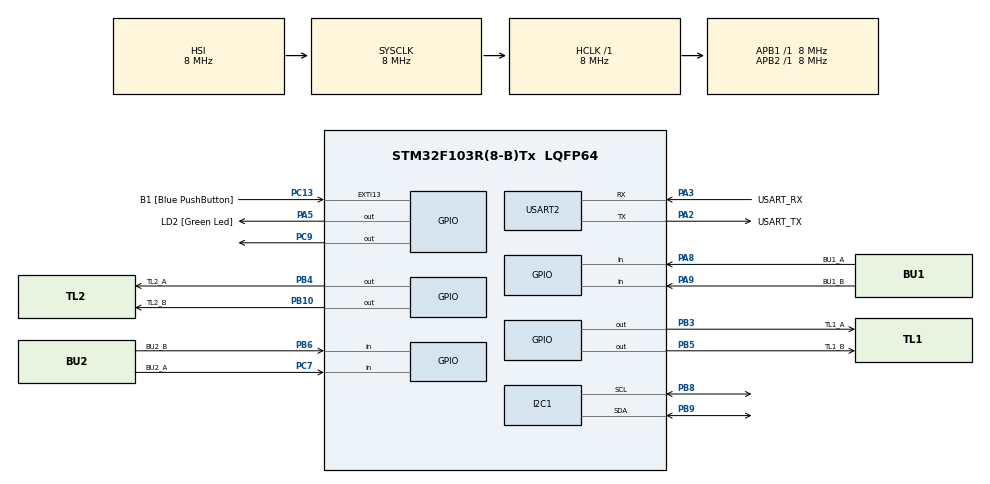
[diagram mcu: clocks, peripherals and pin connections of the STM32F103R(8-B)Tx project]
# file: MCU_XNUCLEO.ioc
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Mcu.Family=STM32F1
Mcu.Name=STM32F103R(8-B)Tx
Mcu.Package=LQFP64
NVIC.EXTI15_10_IRQn=true\:0\:0\:false\:false\:true\:true\:true\:true
NVIC.PriorityGroup=NVIC_PRIORITYGROUP_4
NVIC.TIM2_IRQn=true\:0\:0\:false\:false\:true\:true\:true\:true
PA13.GPIO_Label=TMS
PA13.Mode=Serial_Wire
PA13.Signal=SYS_JTMS-SWDIO
PA14.GPIO_Label=TCK
PA14.Mode=Serial_Wire
PA14.Signal=SYS_JTCK-SWCLK
PA2.GPIO_Label=USART_TX
PA2.GPIO_Mode=GPIO_MODE_AF_PP
PA2.GPIO_PuPd=GPIO_NOPULL
PA2.GPIO_Speed=GPIO_SPEED_FREQ_LOW
PA2.Mode=Asynchronous
PA2.Signal=USART2_TX
PA3.GPIO_Label=USART_RX
PA3.GPIO_Mode=GPIO_MODE_AF_PP
PA3.GPIO_PuPd=GPIO_NOPULL
PA3.GPIO_Speed=GPIO_SPEED_FREQ_LOW
PA3.Mode=Asynchronous
PA3.Signal=USART2_RX
PA5.GPIO_Label=LD2 [Green Led]
PA5.GPIO_ModeDefaultOutputPP=GPIO_MODE_OUTPUT_PP
PA5.GPIO_PuPd=GPIO_NOPULL
PA5.GPIO_Speed=GPIO_SPEED_FREQ_LOW
PA5.Signal=GPIO_Output
PA8.GPIO_Label=BU1_A
PA8.Signal=GPIO_Input
PA9.GPIO_Label=BU1_B
PA9.Signal=GPIO_Input
PB10.GPIO_Label=TL2_B
PB10.Signal=GPIO_Output
PB3.GPIO_Label=TL1_A
PB3.Signal=GPIO_Output
PB4.GPIO_Label=TL2_A
PB4.Signal=GPIO_Output
PB5.GPIO_Label=TL1_B
PB5.Signal=GPIO_Output
PB6.GPIO_Label=BU2_B
PB6.Signal=GPIO_Input
PB8.Mode=I2C
PB8.Signal=I2C1_SCL
PB9.Mode=I2C
PB9.Signal=I2C1_SDA
PC13-TAMPER-RTC.GPIO_Label=B1 [Blue PushButton]
PC13-TAMPER-RTC.GPIO_PuPd=GPIO_NOPULL
PC13-TAMPER-RTC.Signal=GPXTI13
PC14-OSC32_IN.Mode=LSE-External-Oscillator
PC14-OSC32_IN.Signal=RCC_OSC32_IN
PC15-OSC32_OUT.Mode=LSE-External-Oscillator
PC15-OSC32_OUT.Signal=RCC_OSC32_OUT
PC7.GPIO_Label=BU2_A
PC7.Signal=GPIO_Input
PC9.Signal=GPIO_Output
PD0-OSC_IN.Mode=HSE-External-Clock-Source
PD0-OSC_IN.Signal=RCC_OSC_IN
PD1-OSC_OUT.Mode=HSE-External-Clock-Source
PD1-OSC_OUT.Signal=RCC_OSC_OUT
ProjectManager.HeapSize=0x200
ProjectManager.StackSize=0x400
ProjectManager.TargetToolchain=STM32CubeIDE
RCC.AHBFreq_Value=8000000
RCC.APB1Freq_Value=8000000
RCC.APB1TimFreq_Value=8000000
RCC.APB2Freq_Value=8000000
RCC.APB2TimFreq_Value=8000000
RCC.HCLKFreq_Value=8000000
RCC.PLLMUL=RCC_PLL_MUL16
RCC.RTCClockSelection=RCC_RTCCLKSOURCE_LSE
RCC.SYSCLKFreq_VALUE=8000000
RCC.USBFreq_Value=64000000
TIM2.Period=9
TIM2.Prescaler=7999
USART2.VirtualMode=VM_ASYNC
VP_TIM2_VS_ClockSourceINT.Mode=Internal
board=NUCLEO-F103RB

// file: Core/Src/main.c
/* USER CODE BEGIN Header */
/**
 ******************************************************************************
 * @file           : main.c
 * @brief          : Main program body
 ******************************************************************************
 * @attention
 *
 * <h2><center>&copy; Copyright (c) 2026 STMicroelectronics.
 * All rights reserved.</center></h2>
 *
 * This software component is licensed by ST under BSD 3-Clause license,
 * the "License"; You may not use this file except in compliance with the
 * License. You may obtain a copy of the License at:
 *                        opensource.org/licenses/BSD-3-Clause
 *
 ******************************************************************************
 */
/* USER CODE END Header */
#include "main.h"

/* USER CODE BEGIN Includes */
#include "button.h"
#include "dht20.h"
#include "lcd.h"
#include "scheduler.h"
#include "software_timer.h"
#include "traffic_light.h"
#include <stdio.h>

/* USER CODE END Includes */

I2C_HandleTypeDef hi2c1;

TIM_HandleTypeDef htim2;

UART_HandleTypeDef huart2;

/* USER CODE BEGIN PV */
DHT20_HandleTypeDef hdht20;
/* USER CODE END PV */
/*test*/
void SystemClock_Config(void);
static void MX_GPIO_Init(void);
static void MX_USART2_UART_Init(void);
static void MX_I2C1_Init(void);
static void MX_TIM2_Init(void);

/* USER CODE BEGIN 0 */
static const char *last_btn_str = "None       ";
static uint8_t lcd_dirty = 1;

static void update_lcd_status(void) {
  char line_buf[17];

  snprintf(line_buf, sizeof(line_buf), "TL1:%-3s  TL2:%-3s",
           traffic_color_str(traffic_get(TRAFFIC_ROAD_1)),
           traffic_color_str(traffic_get(TRAFFIC_ROAD_2)));
  LCD_SetCursor(0, 0);
  LCD_SendString(line_buf);

  snprintf(line_buf, sizeof(line_buf), "Btn: %-11s", last_btn_str);
  LCD_SetCursor(0, 1);
  LCD_SendString(line_buf);
}

/**
 * @brief Step 5 Demo Task: tests debounced button presses, 1s long-press,
 *        and traffic_light module under the O(1) scheduler.
 */
static void test_button_traffic_task(void) {
  if (isButtonPressed(BTN_1)) {
    /* Button 1 (BU1_A / PA8): Road 1 = RED, Road 2 = GREEN */
    traffic_set_both(LIGHT_RED, LIGHT_GREEN);
    last_btn_str = "BU1_A (D7) ";
    lcd_dirty = 1;
  } else if (isButtonPressed(BTN_2)) {
    /* Button 2 (BU1_B / PA9): Road 1 = RED, Road 2 = AMBER */
    traffic_set_both(LIGHT_RED, LIGHT_AMBER);
    last_btn_str = "BU1_B (D8) ";
    lcd_dirty = 1;
  } else if (isButtonPressed(BTN_3)) {
    /* Button 3 (BU2_A / PC7): Road 1 = GREEN, Road 2 = RED */
    traffic_set_both(LIGHT_GREEN, LIGHT_RED);
    last_btn_str = "BU2_A (D9) ";
    lcd_dirty = 1;
  } else if (isButtonPressed(BTN_4)) {
    /* Button 4 (BU2_B / PB6): Road 1 = AMBER, Road 2 = RED */
    traffic_set_both(LIGHT_AMBER, LIGHT_RED);
    last_btn_str = "BU2_B (D10)";
    lcd_dirty = 1;
  }

  /* Long-press (>= 1 s) on Button 4 turns both lights OFF */
  if (isButtonPressed1s(BTN_4)) {
    traffic_off_all();
    last_btn_str = "BU2_B HOLD ";
    lcd_dirty = 1;
  }

  /* Mirror any held button onto on-board LED LD2 (PA5) */
  uint8_t any_held = isButtonHeld(BTN_1) || isButtonHeld(BTN_2) ||
                     isButtonHeld(BTN_3) || isButtonHeld(BTN_4);
  HAL_GPIO_WritePin(LD2_GPIO_Port, LD2_Pin,
                    any_held ? GPIO_PIN_SET : GPIO_PIN_RESET);

  if (lcd_dirty) {
    update_lcd_status();
    lcd_dirty = 0;
  }
}
/* USER CODE END 0 */

int main(void) {

  /* MCU Configuration--------------------------------------------------------*/

  /* Reset of all peripherals, Initializes the Flash interface and the Systick.
   */
  HAL_Init();

  /* Configure the system clock */
  SystemClock_Config();

  /* Initialize all configured peripherals */
  MX_GPIO_Init();
  MX_USART2_UART_Init();
  MX_I2C1_Init();
  MX_TIM2_Init();
  /* USER CODE BEGIN 2 */
  /* Try initializing LCD at Proteus address 0x20, standard 0x27, or fallback
   * 0x3F */
  const uint8_t lcd_addrs[] = {LCD_ADDR_PROTEUS, LCD_ADDR_PCF8574,
                               LCD_ADDR_PCF8574A};
  for (int i = 0; i < 3; i++) {
    if (LCD_Init(&hi2c1, lcd_addrs[i]) == HAL_OK) {
      break;
    }
  }

  LCD_Clear();
  LCD_SetCursor(0, 0);
  LCD_SendString("Button & TL Test");
  LCD_SetCursor(0, 1);
  LCD_SendString("Press any button");

  /* Initialise supporting modules and O(1) scheduler */
  button_init();
  traffic_init(); /* Start with both roads OFF so all 4 buttons visibly change
                     lights */

  SCH_Init();
  SCH_Add_Task(button_read, 0, 1); /* 10 ms button sampling & debounce */
  SCH_Add_Task(timer_run, 0, 1);   /* 10 ms software timer tick        */
  SCH_Add_Task(test_button_traffic_task, 0,
               2); /* 20 ms button + traffic light demo*/

  /* Start TIM2 10 ms periodic interrupt */
  HAL_TIM_Base_Start_IT(&htim2);
  /* USER CODE END 2 */

  /* Infinite loop */
  while (1) {

    /* USER CODE BEGIN 3 */
    SCH_Dispatch_Tasks();
  }
  /* USER CODE END 3 */
}

void SystemClock_Config(void) {
  RCC_OscInitTypeDef RCC_OscInitStruct = {0};
  RCC_ClkInitTypeDef RCC_ClkInitStruct = {0};

  /** Initializes the RCC Oscillators according to the specified parameters
   * in the RCC_OscInitTypeDef structure.
   */
  RCC_OscInitStruct.OscillatorType = RCC_OSCILLATORTYPE_HSI;
  RCC_OscInitStruct.HSIState = RCC_HSI_ON;
  RCC_OscInitStruct.HSICalibrationValue = RCC_HSICALIBRATION_DEFAULT;
  RCC_OscInitStruct.PLL.PLLState = RCC_PLL_NONE;
  if (HAL_RCC_OscConfig(&RCC_OscInitStruct) != HAL_OK) {
    Error_Handler();
  }
  /** Initializes the CPU, AHB and APB buses clocks
   */
  RCC_ClkInitStruct.ClockType = RCC_CLOCKTYPE_HCLK | RCC_CLOCKTYPE_SYSCLK |
                                RCC_CLOCKTYPE_PCLK1 | RCC_CLOCKTYPE_PCLK2;
  RCC_ClkInitStruct.SYSCLKSource = RCC_SYSCLKSOURCE_HSI;
  RCC_ClkInitStruct.AHBCLKDivider = RCC_SYSCLK_DIV1;
  RCC_ClkInitStruct.APB1CLKDivider = RCC_HCLK_DIV1;
  RCC_ClkInitStruct.APB2CLKDivider = RCC_HCLK_DIV1;

  if (HAL_RCC_ClockConfig(&RCC_ClkInitStruct, FLASH_LATENCY_0) != HAL_OK) {
    Error_Handler();
  }
}

static void MX_I2C1_Init(void) {

  hi2c1.Instance = I2C1;
  hi2c1.Init.ClockSpeed = 100000;
  hi2c1.Init.DutyCycle = I2C_DUTYCYCLE_2;
  hi2c1.Init.OwnAddress1 = 0;
  hi2c1.Init.AddressingMode = I2C_ADDRESSINGMODE_7BIT;
  hi2c1.Init.DualAddressMode = I2C_DUALADDRESS_DISABLE;
  hi2c1.Init.OwnAddress2 = 0;
  hi2c1.Init.GeneralCallMode = I2C_GENERALCALL_DISABLE;
  hi2c1.Init.NoStretchMode = I2C_NOSTRETCH_DISABLE;
  if (HAL_I2C_Init(&hi2c1) != HAL_OK) {
    Error_Handler();
  }
}

static void MX_TIM2_Init(void) {

  TIM_ClockConfigTypeDef sClockSourceConfig = {0};
  TIM_MasterConfigTypeDef sMasterConfig = {0};

  htim2.Instance = TIM2;
  htim2.Init.Prescaler = 7999;
  htim2.Init.CounterMode = TIM_COUNTERMODE_UP;
  htim2.Init.Period = 9;
  htim2.Init.ClockDivision = TIM_CLOCKDIVISION_DIV1;
  htim2.Init.AutoReloadPreload = TIM_AUTORELOAD_PRELOAD_DISABLE;
  if (HAL_TIM_Base_Init(&htim2) != HAL_OK) {
    Error_Handler();
  }
  sClockSourceConfig.ClockSource = TIM_CLOCKSOURCE_INTERNAL;
  if (HAL_TIM_ConfigClockSource(&htim2, &sClockSourceConfig) != HAL_OK) {
    Error_Handler();
  }
  sMasterConfig.MasterOutputTrigger = TIM_TRGO_RESET;
  sMasterConfig.MasterSlaveMode = TIM_MASTERSLAVEMODE_DISABLE;
  if (HAL_TIMEx_MasterConfigSynchronization(&htim2, &sMasterConfig) != HAL_OK) {
    Error_Handler();
  }
}

static void MX_USART2_UART_Init(void) {

  huart2.Instance = USART2;
  huart2.Init.BaudRate = 115200;
  huart2.Init.WordLength = UART_WORDLENGTH_8B;
  huart2.Init.StopBits = UART_STOPBITS_1;
  huart2.Init.Parity = UART_PARITY_NONE;
  huart2.Init.Mode = UART_MODE_TX_RX;
  huart2.Init.HwFlowCtl = UART_HWCONTROL_NONE;
  huart2.Init.OverSampling = UART_OVERSAMPLING_16;
  if (HAL_UART_Init(&huart2) != HAL_OK) {
    Error_Handler();
  }
}

static void MX_GPIO_Init(void) {
  GPIO_InitTypeDef GPIO_InitStruct = {0};

  /* GPIO Ports Clock Enable */
  __HAL_RCC_GPIOC_CLK_ENABLE();
  __HAL_RCC_GPIOD_CLK_ENABLE();
  __HAL_RCC_GPIOA_CLK_ENABLE();
  __HAL_RCC_GPIOB_CLK_ENABLE();

  /*Configure GPIO pin Output Level */
  HAL_GPIO_WritePin(LD2_GPIO_Port, LD2_Pin, GPIO_PIN_RESET);

  /*Configure GPIO pin Output Level */
  HAL_GPIO_WritePin(GPIOB, TL2_B_Pin | TL1_A_Pin | TL2_A_Pin | TL1_B_Pin,
                    GPIO_PIN_RESET);

  /*Configure GPIO pin Output Level */
  HAL_GPIO_WritePin(GPIOC, GPIO_PIN_9, GPIO_PIN_RESET);

  /*Configure GPIO pin : B1_Pin */
  GPIO_InitStruct.Pin = B1_Pin;
  GPIO_InitStruct.Mode = GPIO_MODE_IT_RISING;
  GPIO_InitStruct.Pull = GPIO_NOPULL;
  HAL_GPIO_Init(B1_GPIO_Port, &GPIO_InitStruct);

  /*Configure GPIO pin : LD2_Pin */
  GPIO_InitStruct.Pin = LD2_Pin;
  GPIO_InitStruct.Mode = GPIO_MODE_OUTPUT_PP;
  GPIO_InitStruct.Pull = GPIO_NOPULL;
  GPIO_InitStruct.Speed = GPIO_SPEED_FREQ_LOW;
  HAL_GPIO_Init(LD2_GPIO_Port, &GPIO_InitStruct);

  /*Configure GPIO pins : TL2_B_Pin TL1_A_Pin TL2_A_Pin TL1_B_Pin */
  GPIO_InitStruct.Pin = TL2_B_Pin | TL1_A_Pin | TL2_A_Pin | TL1_B_Pin;
  GPIO_InitStruct.Mode = GPIO_MODE_OUTPUT_PP;
  GPIO_InitStruct.Pull = GPIO_NOPULL;
  GPIO_InitStruct.Speed = GPIO_SPEED_FREQ_LOW;
  HAL_GPIO_Init(GPIOB, &GPIO_InitStruct);

  /*Configure GPIO pin : BU2_A_Pin */
  GPIO_InitStruct.Pin = BU2_A_Pin;
  GPIO_InitStruct.Mode = GPIO_MODE_INPUT;
  GPIO_InitStruct.Pull = GPIO_NOPULL;
  HAL_GPIO_Init(BU2_A_GPIO_Port, &GPIO_InitStruct);

  /*Configure GPIO pin : PC9 */
  GPIO_InitStruct.Pin = GPIO_PIN_9;
  GPIO_InitStruct.Mode = GPIO_MODE_OUTPUT_PP;
  GPIO_InitStruct.Pull = GPIO_NOPULL;
  GPIO_InitStruct.Speed = GPIO_SPEED_FREQ_LOW;
  HAL_GPIO_Init(GPIOC, &GPIO_InitStruct);

  /*Configure GPIO pins : BU1_A_Pin BU1_B_Pin */
  GPIO_InitStruct.Pin = BU1_A_Pin | BU1_B_Pin;
  GPIO_InitStruct.Mode = GPIO_MODE_INPUT;
  GPIO_InitStruct.Pull = GPIO_NOPULL;
  HAL_GPIO_Init(GPIOA, &GPIO_InitStruct);

  /*Configure GPIO pin : BU2_B_Pin */
  GPIO_InitStruct.Pin = BU2_B_Pin;
  GPIO_InitStruct.Mode = GPIO_MODE_INPUT;
  GPIO_InitStruct.Pull = GPIO_NOPULL;
  HAL_GPIO_Init(BU2_B_GPIO_Port, &GPIO_InitStruct);

  /* EXTI interrupt init*/
  HAL_NVIC_SetPriority(EXTI15_10_IRQn, 0, 0);
  HAL_NVIC_EnableIRQ(EXTI15_10_IRQn);
}

/* USER CODE BEGIN 4 */
void HAL_TIM_PeriodElapsedCallback(TIM_HandleTypeDef *htim) {
  if (htim->Instance == TIM2) {
    SCH_Update();
  }
}
/* USER CODE END 4 */

void Error_Handler(void) {
  __disable_irq();
  while (1) {
  }
}

#ifdef USE_FULL_ASSERT
/**
 * @brief  Reports the name of the source file and the source line number
 *         where the assert_param error has occurred.
 * @param  file: pointer to the source file name
 * @param  line: assert_param error line source number
 * @retval None
 */
void assert_failed(uint8_t *file, uint32_t line) {
  /* USER CODE BEGIN 6 */
  /* User can add his own implementation to report the file name and line
     number, ex: printf("Wrong parameters value: file %s on line %d\r\n", file,
     line) */
  /* USER CODE END 6 */
}
#endif /* USE_FULL_ASSERT */

/************************ (C) COPYRIGHT STMicroelectronics *****END OF FILE****/
